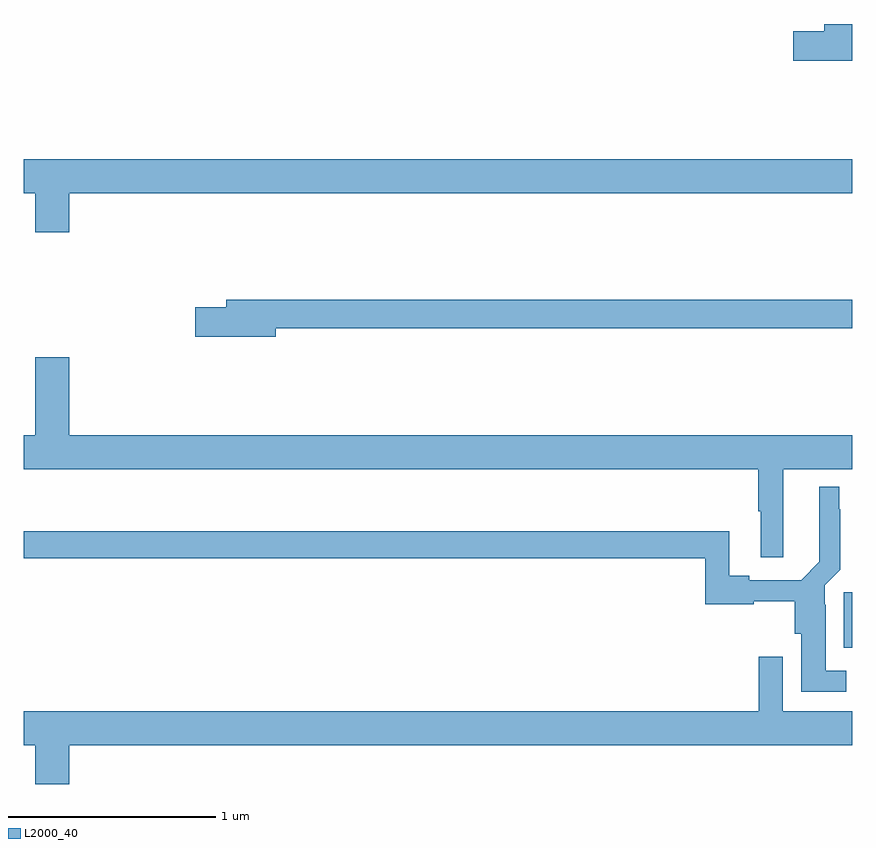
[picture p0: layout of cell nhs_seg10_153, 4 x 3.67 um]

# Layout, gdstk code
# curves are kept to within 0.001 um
import gdstk
lib = gdstk.Library(unit=1e-6, precision=1e-09)
def R(c, l, rs):  # rectangles x0, y0, x1, y1
    for r in rs: c.add(gdstk.rectangle(r[:2], r[2:], *l))
def P(c, l, *ps):  # polygons
    for p in ps: c.add(gdstk.Polygon(p, *l))
L2000_40 = (2000, 40)

nhs_seg10_153 = lib.new_cell('nhs_seg10_153')
R(nhs_seg10_153, L2000_40, [(120.959,1315.437,121,1315.705)])
P(nhs_seg10_153, L2000_40, [(121,1318.448),(120.863,1318.448),(120.863,1318.412),(120.714,1318.412),(120.714,1318.27),(121,1318.27)],
  [(117.22,1317.632),(121,1317.632),(121,1317.796),(117,1317.796),(117,1317.632),(117.056,1317.632),(117.056,1317.444),(117.22,1317.444)],
  [(118.216,1316.98),(121,1316.98),(121,1317.116),(117.977,1317.116),(117.977,1317.08),(117.828,1317.08),(117.828,1316.938),(118.216,1316.938)],
  [(120.667,1316.3),(121,1316.3),(121,1316.464),(117.22,1316.464),(117.22,1316.839),(117.056,1316.839),(117.056,1316.464),(117,1316.464),(117,1316.3),(120.545,1316.3),(120.545,1316.096),(120.557,1316.096),(120.557,1315.875),(120.667,1315.875)],
  [(120.97,1315.327),(120.871,1315.327),(120.871,1315.646),(120.867,1315.646),(120.867,1315.74),(120.941,1315.814),(120.941,1316.105),(120.937,1316.105),(120.937,1316.215),(120.839,1316.215),(120.84,1315.852),(120.752,1315.764),(120.502,1315.764),(120.502,1315.784),(120.406,1315.784),(120.406,1315.999),(117,1315.999),(117,1315.87),(120.289,1315.87),(120.289,1315.648),(120.525,1315.648),(120.525,1315.663),(120.722,1315.663),(120.722,1315.506),(120.752,1315.506),(120.752,1315.226),(120.97,1315.226)],
  [(117.22,1314.968),(121,1314.968),(121,1315.132),(120.663,1315.132),(120.663,1315.393),(120.547,1315.393),(120.547,1315.132),(117,1315.132),(117,1314.968),(117.056,1314.968),(117.056,1314.78),(117.22,1314.78)])

lib.write_gds('nhs_seg10_153.gds')
